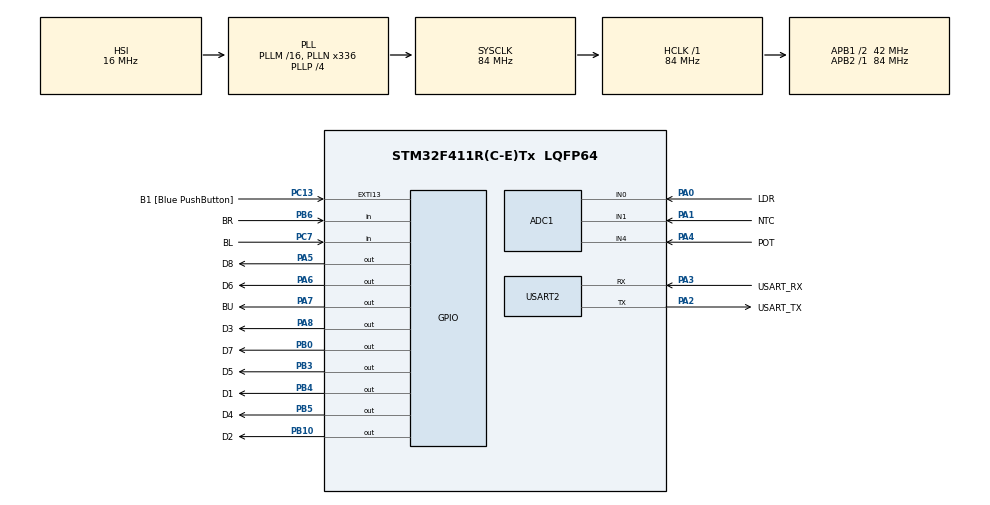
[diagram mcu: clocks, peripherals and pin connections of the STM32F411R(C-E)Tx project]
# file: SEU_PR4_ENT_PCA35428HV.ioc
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ADC1.Channel-0\#ChannelRegularConversion=ADC_CHANNEL_1
ADC1.NbrOfConversionFlag=1
ADC1.Rank-0\#ChannelRegularConversion=1
ADC1.SamplingTime-0\#ChannelRegularConversion=ADC_SAMPLETIME_3CYCLES
ADC1.master=1
Mcu.Family=STM32F4
Mcu.Name=STM32F411R(C-E)Tx
Mcu.Package=LQFP64
NVIC.PriorityGroup=NVIC_PRIORITYGROUP_0
PA0-WKUP.GPIO_Label=LDR
PA0-WKUP.Signal=ADCx_IN0
PA1.GPIO_Label=NTC
PA1.Signal=ADCx_IN1
PA10.Signal=USART1_RX
PA13.GPIO_Label=TMS
PA13.Mode=Serial_Wire
PA13.Signal=SYS_JTMS-SWDIO
PA14.GPIO_Label=TCK
PA14.Mode=Serial_Wire
PA14.Signal=SYS_JTCK-SWCLK
PA2.GPIO_Label=USART_TX
PA2.Mode=Asynchronous
PA2.Signal=USART2_TX
PA3.GPIO_Label=USART_RX
PA3.Mode=Asynchronous
PA3.Signal=USART2_RX
PA4.GPIO_Label=POT
PA4.Signal=ADCx_IN4
PA5.GPIO_Label=D8
PA5.Signal=GPIO_Output
PA6.GPIO_Label=D6
PA6.Signal=GPIO_Output
PA7.GPIO_Label=BU 
PA7.Signal=GPIO_Output
PA8.GPIO_Label=D3
PA8.Signal=GPIO_Output
PA9.Signal=USART1_TX
PB0.GPIO_Label=D7
PB0.Signal=GPIO_Output
PB10.GPIO_Label=D2
PB10.Signal=GPIO_Output
PB3.GPIO_Label=D5
PB3.Signal=GPIO_Output
PB4.GPIO_Label=D1
PB4.Signal=GPIO_Output
PB5.GPIO_Label=D4
PB5.Signal=GPIO_Output
PB6.GPIO_Label=BR
PB6.GPIO_PuPd=GPIO_PULLUP
PB6.Signal=GPIO_Input
PC13-ANTI_TAMP.GPIO_Label=B1 [Blue PushButton]
PC13-ANTI_TAMP.GPIO_ModeDefaultEXTI=GPIO_MODE_IT_FALLING
PC13-ANTI_TAMP.Signal=GPXTI13
PC14-OSC32_IN.Mode=LSE-External-Oscillator
PC14-OSC32_IN.Signal=RCC_OSC32_IN
PC15-OSC32_OUT.Mode=LSE-External-Oscillator
PC15-OSC32_OUT.Signal=RCC_OSC32_OUT
PC7.GPIO_Label=BL
PC7.GPIO_Mode=GPIO_MODE_INPUT
PC7.GPIO_PuPd=GPIO_PULLUP
PC7.Signal=GPIO_Input
PH0\ -\ OSC_IN.Mode=HSE-External-Clock-Source
PH0\ -\ OSC_IN.Signal=RCC_OSC_IN
PH1\ -\ OSC_OUT.Mode=HSE-External-Clock-Source
PH1\ -\ OSC_OUT.Signal=RCC_OSC_OUT
ProjectManager.HeapSize=0x200
ProjectManager.StackSize=0x400
ProjectManager.TargetToolchain=STM32CubeIDE
RCC.48MHZClocksFreq_Value=84000000
RCC.AHBFreq_Value=84000000
RCC.APB1CLKDivider=RCC_HCLK_DIV2
RCC.APB1Freq_Value=42000000
RCC.APB1TimFreq_Value=84000000
RCC.APB2Freq_Value=84000000
RCC.APB2TimFreq_Value=84000000
RCC.CortexFreq_Value=84000000
RCC.FLatency-AdvancedSettings=FLASH_LATENCY_2
RCC.HCLKFreq_Value=84000000
RCC.HSE_VALUE=8000000
RCC.HSI_VALUE=16000000
RCC.PLLN=336
RCC.PLLP=RCC_PLLP_DIV4
RCC.SYSCLKFreq_VALUE=84000000
RCC.SYSCLKSource=RCC_SYSCLKSOURCE_PLLCLK
RCC.VCOOutputFreq_Value=336000000
SH.ADCx_IN0.0=ADC1_IN0,IN0
SH.ADCx_IN1.0=ADC1_IN1,IN1
SH.ADCx_IN4.0=ADC1_IN4,IN4
USART2.VirtualMode=VM_ASYNC
board=NUCLEO-F411RE

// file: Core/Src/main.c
/* USER CODE BEGIN Header */
/**
  ******************************************************************************
  * @file           : main.c
  * @brief          : Main program body
  ******************************************************************************
  * @attention
  *
  * Copyright (c) 2022 STMicroelectronics.
  * All rights reserved.
  *
  * This software is licensed under terms that can be found in the LICENSE file
  * in the root directory of this software component.
  * If no LICENSE file comes with this software, it is provided AS-IS.
  *
  ******************************************************************************
  */
/* USER CODE END Header */
#include "main.h"

/* USER CODE BEGIN Includes */
#include <functions.h>

/* USER CODE END Includes */

ADC_HandleTypeDef hadc1;

UART_HandleTypeDef huart2;

void SystemClock_Config(void);
static void MX_GPIO_Init(void);
static void MX_USART2_UART_Init(void);
static void MX_ADC1_Init(void);

/* USER CODE BEGIN 0 */
int _write(int file,char *ptr, int len) {
	int DataIdx;
	for(DataIdx=0; DataIdx <len; DataIdx++) {
		//ITM_SendChar( *ptr++ );
		HAL_UART_Transmit(&huart2,(uint8_t*)ptr++,1,1000);
	}
	return len;
}

/* USER CODE END 0 */

int main(void)
{

  /* MCU Configuration--------------------------------------------------------*/

  /* Reset of all peripherals, Initializes the Flash interface and the Systick. */
  HAL_Init();

  /* Configure the system clock */
  SystemClock_Config();

  /* Initialize all configured peripherals */
  MX_GPIO_Init();
  MX_USART2_UART_Init();
  MX_ADC1_Init();

  /* Infinite loop */
  /* USER CODE BEGIN WHILE */
  while (1)
  {
	      ADC_ChannelConfTypeDef sConfig = {0};

	      //LDR
	  	  sConfig.Channel = ADC_CHANNEL_0;
	  	  sConfig.Rank = 1;
	  	  HAL_ADC_ConfigChannel(&hadc1, &sConfig);
	  	  HAL_ADC_Start(&hadc1);
	  	  HAL_ADC_PollForConversion(&hadc1,HAL_MAX_DELAY);
	  	  uint32_t raw_LDR = HAL_ADC_GetValue(&hadc1);
	  	  printf("LDR: %lu\r\n",raw_LDR);

	      //NTC
	  	  sConfig.Channel = ADC_CHANNEL_1;
	  	  sConfig.Rank = 1;
	  	  HAL_ADC_ConfigChannel(&hadc1, &sConfig);
	  	  HAL_ADC_Start(&hadc1);
	  	  HAL_ADC_PollForConversion(&hadc1,HAL_MAX_DELAY);
	  	  uint32_t raw = HAL_ADC_GetValue(&hadc1);

	  	  //printf("Temperatura:%d\n",raw_NTC);
	  	  float v_divisor = (raw*3.3)/4095;
	  	  float R_NTC = 1/((3.3-v_divisor)/(850.0*3.3))-850.0;
	  	  float R_25 = 650.0;
	  	  float B = 3450;
	  	  float T_NTC = B/(log(R_25/R_NTC)+B/(25+273));
	      float raw_NTC = (T_NTC-273);
	      printf("Temperatura: %.6f\r\n",raw_NTC);

	  	  //Potenciometro
	  	  sConfig.Channel = ADC_CHANNEL_4;
	  	  sConfig.Rank = 1;
	  	  HAL_ADC_ConfigChannel(&hadc1, &sConfig);
	  	  HAL_ADC_Start(&hadc1);
	  	  HAL_ADC_PollForConversion(&hadc1,HAL_MAX_DELAY);
	  	  uint32_t raw_pot = HAL_ADC_GetValue(&hadc1);
	  	  printf("Potenciometro: %lu\r\n",raw_pot);

	      LEDMode(raw_LDR, raw_NTC, raw_pot, raw);

	      HAL_Delay(1000);
    /* USER CODE END WHILE */

  }
}

void SystemClock_Config(void)
{
  RCC_OscInitTypeDef RCC_OscInitStruct = {0};
  RCC_ClkInitTypeDef RCC_ClkInitStruct = {0};

  /** Configure the main internal regulator output voltage
  */
  __HAL_RCC_PWR_CLK_ENABLE();
  __HAL_PWR_VOLTAGESCALING_CONFIG(PWR_REGULATOR_VOLTAGE_SCALE1);
  /** Initializes the RCC Oscillators according to the specified parameters
  * in the RCC_OscInitTypeDef structure.
  */
  RCC_OscInitStruct.OscillatorType = RCC_OSCILLATORTYPE_HSI;
  RCC_OscInitStruct.HSIState = RCC_HSI_ON;
  RCC_OscInitStruct.HSICalibrationValue = RCC_HSICALIBRATION_DEFAULT;
  RCC_OscInitStruct.PLL.PLLState = RCC_PLL_ON;
  RCC_OscInitStruct.PLL.PLLSource = RCC_PLLSOURCE_HSI;
  RCC_OscInitStruct.PLL.PLLM = 16;
  RCC_OscInitStruct.PLL.PLLN = 336;
  RCC_OscInitStruct.PLL.PLLP = RCC_PLLP_DIV4;
  RCC_OscInitStruct.PLL.PLLQ = 4;
  if (HAL_RCC_OscConfig(&RCC_OscInitStruct) != HAL_OK)
  {
    Error_Handler();
  }
  /** Initializes the CPU, AHB and APB buses clocks
  */
  RCC_ClkInitStruct.ClockType = RCC_CLOCKTYPE_HCLK|RCC_CLOCKTYPE_SYSCLK
                              |RCC_CLOCKTYPE_PCLK1|RCC_CLOCKTYPE_PCLK2;
  RCC_ClkInitStruct.SYSCLKSource = RCC_SYSCLKSOURCE_PLLCLK;
  RCC_ClkInitStruct.AHBCLKDivider = RCC_SYSCLK_DIV1;
  RCC_ClkInitStruct.APB1CLKDivider = RCC_HCLK_DIV2;
  RCC_ClkInitStruct.APB2CLKDivider = RCC_HCLK_DIV1;

  if (HAL_RCC_ClockConfig(&RCC_ClkInitStruct, FLASH_LATENCY_2) != HAL_OK)
  {
    Error_Handler();
  }
}

static void MX_ADC1_Init(void)
{

  ADC_ChannelConfTypeDef sConfig = {0};

  /** Configure the global features of the ADC (Clock, Resolution, Data Alignment and number of conversion)
  */
  hadc1.Instance = ADC1;
  hadc1.Init.ClockPrescaler = ADC_CLOCK_SYNC_PCLK_DIV4;
  hadc1.Init.Resolution = ADC_RESOLUTION_12B;
  hadc1.Init.ScanConvMode = DISABLE;
  hadc1.Init.ContinuousConvMode = DISABLE;
  hadc1.Init.DiscontinuousConvMode = DISABLE;
  hadc1.Init.ExternalTrigConvEdge = ADC_EXTERNALTRIGCONVEDGE_NONE;
  hadc1.Init.ExternalTrigConv = ADC_SOFTWARE_START;
  hadc1.Init.DataAlign = ADC_DATAALIGN_RIGHT;
  hadc1.Init.NbrOfConversion = 1;
  hadc1.Init.DMAContinuousRequests = DISABLE;
  hadc1.Init.EOCSelection = ADC_EOC_SINGLE_CONV;
  if (HAL_ADC_Init(&hadc1) != HAL_OK)
  {
    Error_Handler();
  }
  /** Configure for the selected ADC regular channel its corresponding rank in the sequencer and its sample time.
  */
  sConfig.Channel = ADC_CHANNEL_1;
  sConfig.Rank = 1;
  sConfig.SamplingTime = ADC_SAMPLETIME_3CYCLES;
  if (HAL_ADC_ConfigChannel(&hadc1, &sConfig) != HAL_OK)
  {
    Error_Handler();
  }
  /* USER CODE BEGIN ADC1_Init 2 */
  sConfig.Channel = ADC_CHANNEL_1;
  sConfig.Rank = 1;
  sConfig.SamplingTime = ADC_SAMPLETIME_3CYCLES;
  if (HAL_ADC_ConfigChannel(&hadc1, &sConfig) != HAL_OK)
  {
    Error_Handler();
  }

  sConfig.Channel = ADC_CHANNEL_4;
  sConfig.Rank = 1;
  sConfig.SamplingTime = ADC_SAMPLETIME_3CYCLES;
  if (HAL_ADC_ConfigChannel(&hadc1, &sConfig) != HAL_OK)
  {
    Error_Handler();
  }
  /* USER CODE END ADC1_Init 2 */

}

static void MX_USART2_UART_Init(void)
{

  huart2.Instance = USART2;
  huart2.Init.BaudRate = 115200;
  huart2.Init.WordLength = UART_WORDLENGTH_8B;
  huart2.Init.StopBits = UART_STOPBITS_1;
  huart2.Init.Parity = UART_PARITY_NONE;
  huart2.Init.Mode = UART_MODE_TX_RX;
  huart2.Init.HwFlowCtl = UART_HWCONTROL_NONE;
  huart2.Init.OverSampling = UART_OVERSAMPLING_16;
  if (HAL_UART_Init(&huart2) != HAL_OK)
  {
    Error_Handler();
  }

}

static void MX_GPIO_Init(void)
{
  GPIO_InitTypeDef GPIO_InitStruct = {0};

  /* GPIO Ports Clock Enable */
  __HAL_RCC_GPIOC_CLK_ENABLE();
  __HAL_RCC_GPIOH_CLK_ENABLE();
  __HAL_RCC_GPIOA_CLK_ENABLE();
  __HAL_RCC_GPIOB_CLK_ENABLE();

  /*Configure GPIO pin Output Level */
  HAL_GPIO_WritePin(GPIOA, D8_Pin|D6_Pin|BU_Pin|D3_Pin, GPIO_PIN_RESET);

  /*Configure GPIO pin Output Level */
  HAL_GPIO_WritePin(GPIOB, D7_Pin|D2_Pin|D5_Pin|D1_Pin
                          |D4_Pin, GPIO_PIN_RESET);

  /*Configure GPIO pin : B1_Pin */
  GPIO_InitStruct.Pin = B1_Pin;
  GPIO_InitStruct.Mode = GPIO_MODE_IT_FALLING;
  GPIO_InitStruct.Pull = GPIO_NOPULL;
  HAL_GPIO_Init(B1_GPIO_Port, &GPIO_InitStruct);

  /*Configure GPIO pins : D8_Pin D6_Pin BU_Pin D3_Pin */
  GPIO_InitStruct.Pin = D8_Pin|D6_Pin|BU_Pin|D3_Pin;
  GPIO_InitStruct.Mode = GPIO_MODE_OUTPUT_PP;
  GPIO_InitStruct.Pull = GPIO_NOPULL;
  GPIO_InitStruct.Speed = GPIO_SPEED_FREQ_LOW;
  HAL_GPIO_Init(GPIOA, &GPIO_InitStruct);

  /*Configure GPIO pins : D7_Pin D2_Pin D5_Pin D1_Pin
                           D4_Pin */
  GPIO_InitStruct.Pin = D7_Pin|D2_Pin|D5_Pin|D1_Pin
                          |D4_Pin;
  GPIO_InitStruct.Mode = GPIO_MODE_OUTPUT_PP;
  GPIO_InitStruct.Pull = GPIO_NOPULL;
  GPIO_InitStruct.Speed = GPIO_SPEED_FREQ_LOW;
  HAL_GPIO_Init(GPIOB, &GPIO_InitStruct);

  /*Configure GPIO pin : BL_Pin */
  GPIO_InitStruct.Pin = BL_Pin;
  GPIO_InitStruct.Mode = GPIO_MODE_INPUT;
  GPIO_InitStruct.Pull = GPIO_PULLUP;
  HAL_GPIO_Init(BL_GPIO_Port, &GPIO_InitStruct);

  /*Configure GPIO pins : PA9 PA10 */
  GPIO_InitStruct.Pin = GPIO_PIN_9|GPIO_PIN_10;
  GPIO_InitStruct.Mode = GPIO_MODE_AF_PP;
  GPIO_InitStruct.Pull = GPIO_NOPULL;
  GPIO_InitStruct.Speed = GPIO_SPEED_FREQ_VERY_HIGH;
  GPIO_InitStruct.Alternate = GPIO_AF7_USART1;
  HAL_GPIO_Init(GPIOA, &GPIO_InitStruct);

  /*Configure GPIO pin : BR_Pin */
  GPIO_InitStruct.Pin = BR_Pin;
  GPIO_InitStruct.Mode = GPIO_MODE_INPUT;
  GPIO_InitStruct.Pull = GPIO_PULLUP;
  HAL_GPIO_Init(BR_GPIO_Port, &GPIO_InitStruct);

}

void Error_Handler(void)
{
  __disable_irq();
  while (1)
  {
  }
}
